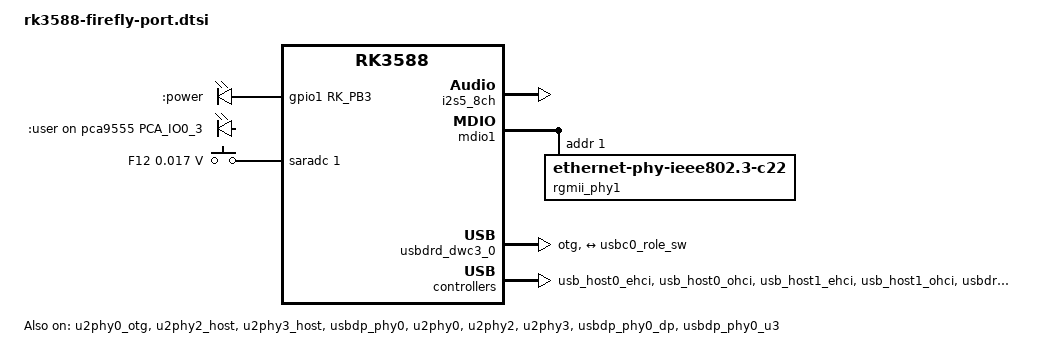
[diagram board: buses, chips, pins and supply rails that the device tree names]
// SPDX-License-Identifier: (GPL-2.0+ OR MIT)
/*
 * Copyright (c) 2021 Rockchip Electronics Co., Ltd.
 *
 */

#include "rk3588-firefly-core.dtsi"
#include "rk3588-linux.dtsi"

/ {
	firefly_leds: leds {
		compatible = "gpio-leds";
		status = "okay";
		power_led: power {
			label = ":power"; //green led
			linux,default-trigger = "ir-power-click";
			default-state = "on";
			gpios = <&gpio1 RK_PB3 GPIO_ACTIVE_HIGH>;
		};

		user_led: user {
			label = ":user"; //yellow led
			linux,default-trigger = "ir-user-click";
			default-state = "off";
			gpios = <&pca9555 PCA_IO0_3 GPIO_ACTIVE_HIGH>;
		};
	};

	hdmi0_sound: hdmi0-sound {
		status = "disabled";
		compatible = "rockchip,hdmi";
		rockchip,mclk-fs = <128>;
		rockchip,card-name = "rockchip-hdmi0";
		rockchip,cpu = <&i2s5_8ch>;
		rockchip,codec = <&hdmi0>;
		rockchip,jack-det;
	};

	dp0_sound: dp0-sound {
		status = "disabled";
		compatible = "rockchip,hdmi";
		rockchip,card-name= "rockchip-dp0";
		rockchip,mclk-fs = <512>;
		rockchip,cpu = <&spdif_tx2>;
		rockchip,codec = <&dp0 1>;
		rockchip,jack-det;
	};

	spdif_tx1_dc: spdif-tx1-dc {
		status = "disabled";
		compatible = "linux,spdif-dit";
		#sound-dai-cells = <0>;
	};

	spdif_tx1_sound: spdif-tx1-sound {
		status = "disabled";
		compatible = "simple-audio-card";
		simple-audio-card,mclk-fs = <128>;
		simple-audio-card,name = "rockchip,spdif-tx1";
		simple-audio-card,cpu {
			sound-dai = <&spdif_tx1>;
		};
		simple-audio-card,codec {
			sound-dai = <&spdif_tx1_dc>;
		};
	};

	adc_keys: adc-keys {
		status = "okay";
		compatible = "adc-keys";
		io-channels = <&saradc 1>;
		io-channel-names = "buttons";
		keyup-threshold-microvolt = <1800000>;
		poll-interval = <100>;

		recovery-key{
			label = "F12";
			linux,code = <KEY_F12>;
			press-threshold-microvolt = <17000>;
		};
	};

	es8388_sound: es8388-sound {
		status = "disabled";
		compatible = "firefly,multicodecs-card";
		rockchip,card-name = "rockchip-es8388";
		hp-det-gpio = <&gpio1 RK_PC4 GPIO_ACTIVE_LOW>;
		io-channels = <&saradc 3>;
		io-channel-names = "adc-detect";
		spk-con-gpio = <&gpio3 RK_PB2 GPIO_ACTIVE_HIGH>;
		hp-con-gpio = <&gpio4 RK_PB0 GPIO_ACTIVE_HIGH>;
		linein-type = <0>;
		rockchip,format = "i2s";
		rockchip,mclk-fs = <256>;
		rockchip,cpu = <&i2s0_8ch>;
		rockchip,codec = <&es8388>;
		rockchip,audio-routing =
			"Headphone", "LOUT1",
			"Headphone", "ROUT1",
			"Speaker", "LOUT2",
			"Speaker", "ROUT2",
			"Headphone", "Headphone Power",
			"Headphone", "Headphone Power",
			"Speaker", "Speaker Power",
			"Speaker", "Speaker Power",
			"LINPUT1", "Main Mic",
			"LINPUT2", "Main Mic",
			"RINPUT1", "Headset Mic",
			"RINPUT2", "Headset Mic";
		pinctrl-names = "default";
		pinctrl-0 = <&hp_det>;
	};

	vcc5v0_host: vcc5v0-host {
		compatible = "regulator-fixed";
		regulator-name = "vcc5v0_host";
		regulator-boot-on;
		regulator-always-on;
		regulator-min-microvolt = <5000000>;
		regulator-max-microvolt = <5000000>;
		enable-active-high;
		gpio = <&pca9555 PCA_IO0_5 GPIO_ACTIVE_HIGH>;
		vin-supply = <&vcc5v0_usb>;
		status = "disabled";
	};

	vcc_hub_reset: vcc-hub-reset-regulator {
		compatible = "regulator-fixed"; 
		regulator-name = "vcc_hub_reset";
		regulator-boot-on;
		regulator-always-on; 
		enable-active-high;
		status = "disabled"; 
		gpio = <&pca9555 PCA_IO0_4 GPIO_ACTIVE_HIGH>;  //PCA_IO 04
	};

	vbus5v0_typec_pwr_en: vbus5v0-typec-pwr-en-regulator {
		compatible = "regulator-fixed";
		regulator-name = "vbus5v0_typec_pwr_en";
		enable-active-high;
		status = "disabled";
		gpio = <&pca9555 PCA_IO1_4 GPIO_ACTIVE_HIGH>;  //PCA_IO 14
	};
};

&i2s0_8ch {
	status = "disabled";
	pinctrl-0 = <&i2s0_lrck
				&i2s0_sclk
				&i2s0_sdi0
				&i2s0_sdo0>;
};

&i2s5_8ch {
	status = "okay";
};

&gmac1 {
	/* Use rgmii-rxid mode to disable rx delay inside Soc */
	phy-mode = "rgmii-rxid";
	clock_in_out = "output";

	snps,reset-gpio = <&gpio3 RK_PB7 GPIO_ACTIVE_LOW>;
	snps,reset-active-low;
	/* Reset time is 20ms, 100ms for rtl8211f */
	snps,reset-delays-us = <0 20000 100000>;

	pinctrl-names = "default";
	pinctrl-0 = <&gmac1_miim
			&gmac1_tx_bus2
			&gmac1_rx_bus2
			&gmac1_rgmii_clk
			&gmac1_rgmii_bus>;

	tx_delay = <0x42>;
	//rx_delay = <0x4f>;

	phy-handle = <&rgmii_phy1>;
	status = "disbaled";
};

&mdio1 {
	rgmii_phy1: phy@1 {
		compatible = "ethernet-phy-ieee802.3-c22";
		reg = <0x1>;
	};
};

&i2c3 {
	status = "disabled";
	es8388: es8388@11 {
		status = "disabled";
		#sound-dai-cells = <0>;
		compatible = "everest,es8388", "everest,es8323";
		reg = <0x11>;
		clocks = <&cru I2S0_8CH_MCLKOUT>;
		clock-names = "mclk";
		assigned-clocks = <&cru I2S0_8CH_MCLKOUT>;
		assigned-clock-rates = <12288000>;
		pinctrl-names = "default";
		pinctrl-0 = <&i2s0_mclk>;
	};
};

&u2phy0_otg { 
	rockchip,typec-vbus-det; 
}; 

&u2phy2_host { 
	phy-supply = <&vcc5v0_host>; 
}; 

&u2phy3_host { 
	phy-supply = <&vcc5v0_host>; 
};

&usbdp_phy0 {
	orientation-switch;
	svid = <0xff01>;
	sbu1-dc-gpios = <&gpio4 RK_PA6 GPIO_ACTIVE_HIGH>;
	sbu2-dc-gpios = <&gpio4 RK_PA7 GPIO_ACTIVE_HIGH>;

	port {
		#address-cells = <1>;
		#size-cells = <0>;
		usbdp_phy0_orientation_switch: endpoint@0 {
			reg = <0>;
			remote-endpoint = <&usbc0_orien_sw>;
		};

		usbdp_phy0_dp_altmode_mux: endpoint@1 {
			reg = <1>;
			remote-endpoint = <&dp_altmode_mux>;
		};
	};
};

&usbdrd_dwc3_0 {
	dr_mode = "otg";
	usb-role-switch;
	port {
		#address-cells = <1>;
		#size-cells = <0>;
		dwc3_0_role_switch: endpoint@0 {
			reg = <0>;
			remote-endpoint = <&usbc0_role_sw>;
		};
	};
};

&usbhost3_0 {
	status = "disabled";
};

&usbhost_dwc3_0 {
	status = "disabled";
};

&u2phy0 {
	status = "okay";
};

&u2phy2 {
	status = "okay";
};

&u2phy3 {
	status = "okay";
};

&u2phy0_otg {
	status = "okay";
};

&u2phy2_host {
	status = "okay";
};

&u2phy3_host {
	status = "okay";
};

&usb_host0_ehci {
	status = "okay";
};

&usb_host0_ohci {
	status = "okay";
};

&usb_host1_ehci {
	status = "okay";
};

&usb_host1_ohci {
	status = "okay";
};

&usbdp_phy0 {
	status = "okay";
};

&usbdp_phy0_dp {
	status = "okay";
};

&usbdp_phy0_u3 {
	status = "okay";
};

&usbdrd3_0 {
	status = "okay";
};

&usbdrd_dwc3_0 {
	dr_mode = "otg";
	status = "okay";
};
